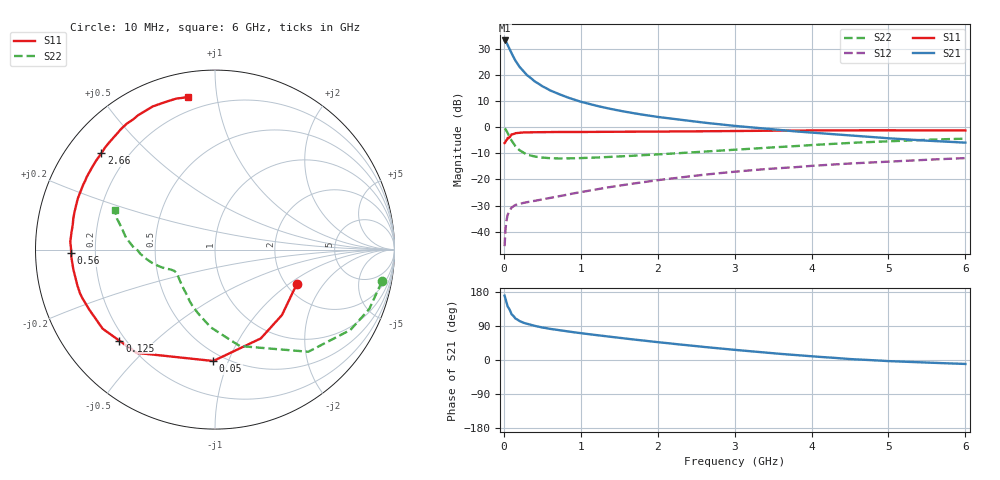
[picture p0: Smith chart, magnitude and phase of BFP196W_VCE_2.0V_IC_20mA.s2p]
! Infineon Technologies  Discrete & RF Semiconductors
! BFP196W
! VCE = 2.0 V,  IC =  20mA
! Common Emitter S-Parameters:  Jan 2016
# GHz  S  MA  R  50
!  f  S11  S21  S12  S22
! GHz  MAG  ANG  MAG  ANG  MAG  ANG  MAG  ANG
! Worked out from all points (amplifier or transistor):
!   210 points, 10 MHz to 6 GHz, reference 50 ohm
!   highest |S21| = 33.1 dB at 10 MHz (marker M1)
!   |S21| within 3 dB of that: start of sweep to 70.09 MHz
!   unconditionally stable (mu >= 1): 863.4 MHz to 3.339 GHz
!   at 185 MHz: K = 0.34, MSG = 26.7 dB, |S12| = -29.5 dB
!   at 1.52 GHz: K = 1.13, MAG = 12.0 dB, |S12| = -22.3 dB
!   at 6 GHz: K = 0.95, MSG = 3.0 dB, |S12| = -11.9 dB
!   S11 on the Smith chart (normalised r, x): 10 MHz: 2.27, -1.15; 50 MHz: 0.44, -0.88; 125 MHz: 0.18, -0.39; 560 MHz: 0.11, -0.01; 2.66 GHz: 0.11, +0.36; 6 GHz: 0.12, +0.83
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0.01  0.4944 -22.8  45.19 169.7  0.0053 79.5  0.9472 -10.7
0.02  0.5216 -44.3  44.62 162.5  0.0103 73.1  0.9211 -21.1
0.03  0.5568 -62.7  42.49 154.7  0.0149 68.3  0.8771 -30.7
0.05  0.6207 -90.9  37.08 141.0  0.0212 56.0  0.7708 -47.6
0.1  0.7231 -127.3  25.5 120.8  0.029 40.2  0.5546 -75.6
0.125  0.7356 -136.4  21.97 116.1  0.0307 36.6  0.4881 -83.4
0.15  0.7657 -144.9  18.63 109.6  0.0325 33.3  0.4331 -93.3
0.2  0.7768 -154.7  14.41 103.2  0.034 31.0  0.3646 -105.5
0.26  0.7904 -161.9  11.4 98.0  0.0357 30.6  0.3219 -115.7
0.3  0.7923 -165.3  9.848 95.3  0.0367 31.4  0.2983 -121.5
0.4  0.7968 -172.0  7.483 89.9  0.0389 33.4  0.2744 -131.4
0.5  0.801 -176.7  6.038 85.7  0.0414 35.9  0.2613 -138.2
0.56  0.801 -178.6  5.437 83.8  0.0431 37.5  0.2571 -141.0
0.8  0.806 174.0  3.805 76.3  0.0503 43.2  0.2517 -148.3
1.02  0.8053 169.4  2.997 70.4  0.0578 47.0  0.2558 -152.0
1.4  0.8123 161.6  2.205 60.9  0.072 50.7  0.2697 -155.5
2.02  0.8213 150.4  1.549 46.7  0.0975 52.6  0.3015 -160.1
2.66  0.8304 139.6  1.19 33.4  0.1253 50.7  0.344 -166.2
3.1  0.8414 132.6  1.023 25.0  0.1445 48.2  0.3776 -171.1
4.1  0.8632 118.5  0.767 8.3  0.1854 41.5  0.4625 177.2
5.1  0.8675 107.7  0.599 -3.7  0.2225 33.8  0.5427 165.8
6  0.8628 100.2  0.504 -10.4  0.2554 27.4  0.6007 158.4
